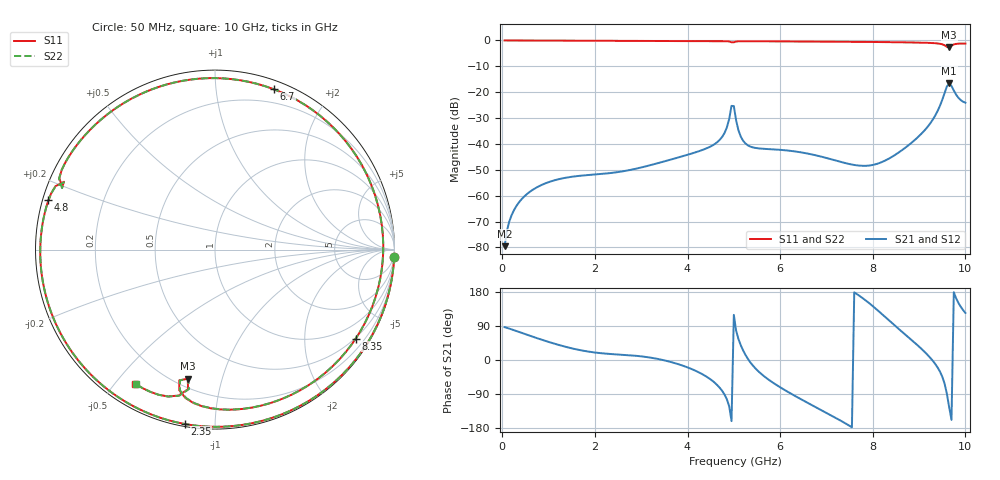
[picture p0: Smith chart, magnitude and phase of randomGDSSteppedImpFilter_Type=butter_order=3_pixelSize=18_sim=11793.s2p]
! freq	dB(S11)	phase(S11)	dB(S12)	phase(S12)
!  dB(S21)	phase(S21)	dB(S22)	phase(S22)
!S-par simulation data
#  GHz  S  DB  R 50
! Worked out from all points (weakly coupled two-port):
!   200 points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, 50 MHz to 10 GHz, reference 50 ohm
!   highest |S21| = -16.62 dB at 9.65 GHz (marker M1); lowest = -79.5 dB at 50 MHz (marker M2)
!   lowest |S11| = -2.7 dB at 9.65 GHz (marker M3), VSWR 6.56, Z = 12.4 - j39 ohm
!   |S11| at or under -10 dB: nowhere
!   |S22| runs from -2.7 to 0.0 dB; largest |S21 - S12| = 0
!   S11 on the Smith chart (normalised r, x): 50 MHz: 0, -50; 2.35 GHz: 0.01, -0.84; 4.8 GHz: 0.02, +0.15; 6.7 GHz: 0.08, +1.43; 8.35 GHz: 0.48, -3.39; 10 GHz: 0.09, -0.57
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0.05  -0.00 -2.3  -79.49 86.6  -79.49 86.6  -0.00 -2.3
0.2  -0.01 -9.0  -67.56 80.9  -67.56 80.9  -0.01 -9.0
0.5  -0.02 -22.3  -59.86 68.1  -59.86 68.1  -0.02 -22.3
1  -0.05 -44.2  -54.75 47.7  -54.75 47.7  -0.05 -44.2
1.75  -0.09 -75.7  -52.17 24.4  -52.17 24.4  -0.09 -75.7
2.35  -0.12 -99.8  -51.21 15.7  -51.21 15.7  -0.12 -99.8
3.4  -0.17 -140.4  -47.22 1.8  -47.22 1.8  -0.17 -140.3
4.45  -0.24 178.5  -41.38 -47.1  -41.38 -47.1  -0.23 178.6
4.8  -0.28 163.4  -35.71 -91.4  -35.71 -91.4  -0.28 163.6
4.95  -0.70 155.8  -25.28 -161.2  -25.28 -161.2  -0.71 156.0
5  -0.73 157.8  -25.35 119.1  -25.35 119.1  -0.74 158.1
5.05  -0.40 155.3  -30.97 76.9  -30.97 76.9  -0.40 155.6
5.15  -0.31 150.0  -37.17 38.9  -37.17 38.9  -0.31 150.3
5.35  -0.31 140.5  -40.96 -5.2  -40.96 -5.2  -0.31 140.8
6.1  -0.37 103.3  -42.42 -79.3  -42.42 -79.3  -0.37 103.7
6.7  -0.43 69.8  -44.10 -120.0  -44.10 -120.0  -0.43 70.3
7.55  -0.52 17.6  -47.96 -177.6  -47.96 -177.6  -0.52 18.2
8.35  -0.65 -32.3  -45.65 104.5  -45.65 104.5  -0.65 -31.7
9.2  -0.93 -82.5  -33.01 11.4  -33.01 11.4  -0.93 -82.1
9.55  -1.85 -104.3  -20.34 -62.1  -20.34 -62.1  -1.86 -104.0
9.65  -2.67 -101.9  -16.62 -124.7  -16.62 -124.7  -2.67 -101.6
10  -1.21 -120.7  -24.06 124.2  -24.06 124.2  -1.21 -120.4
